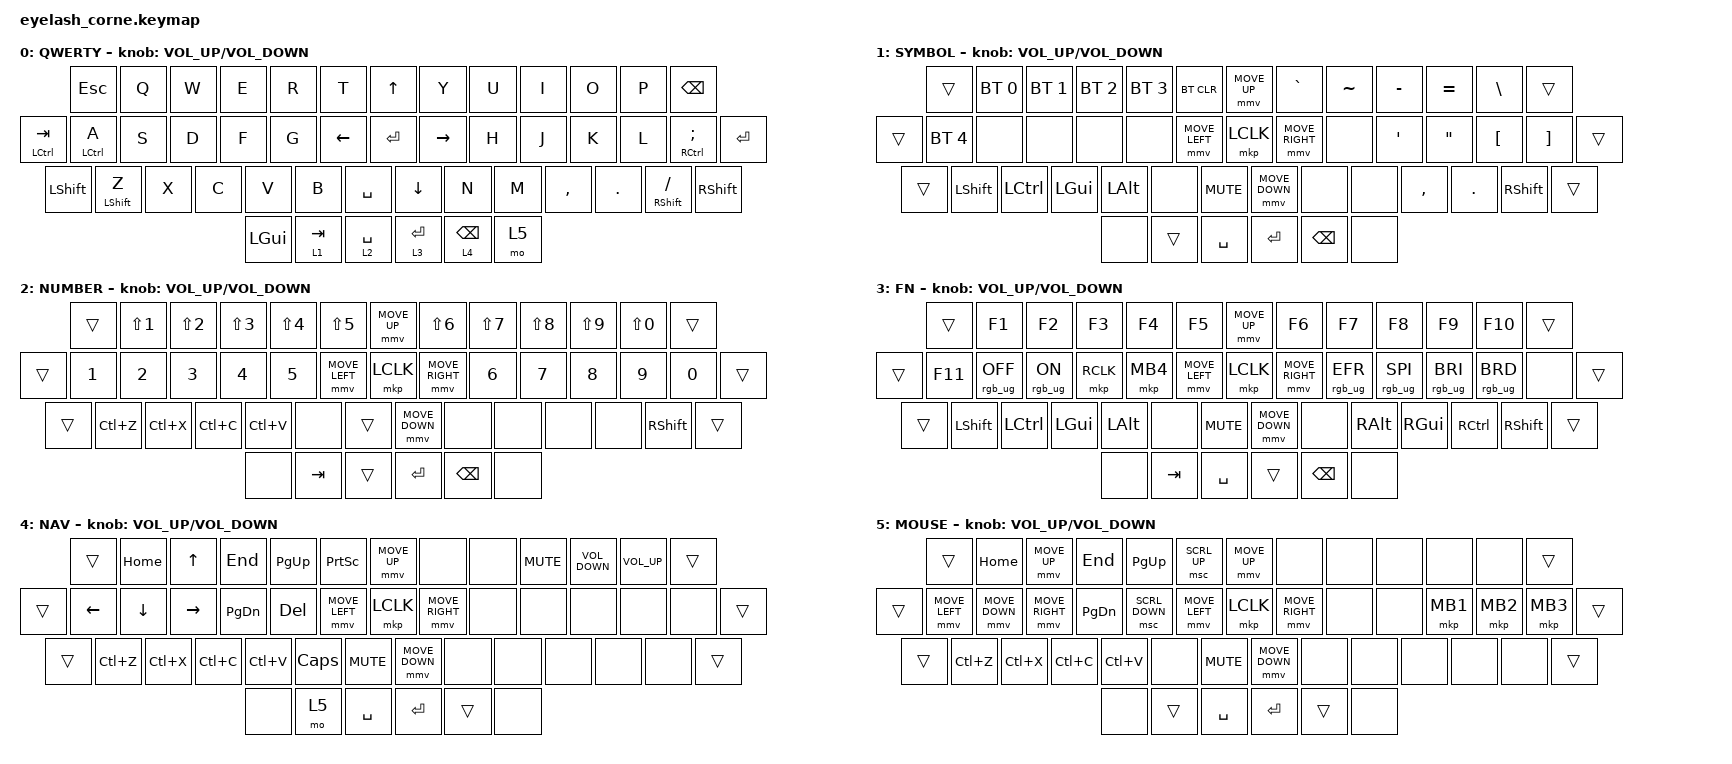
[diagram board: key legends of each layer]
#define ZMK_POINTING_DEFAULT_MOVE_VAL 2500  // 600
#define ZMK_POINTING_DEFAULT_SCRL_VAL 25   // 10

#include <input/processors.dtsi>
#include <zephyr/dt-bindings/input/input-event-codes.h>
#include <behaviors.dtsi>
#include <dt-bindings/zmk/bt.h>
#include <dt-bindings/zmk/ext_power.h>
#include <dt-bindings/zmk/keys.h>
#include <dt-bindings/zmk/outputs.h>
#include <dt-bindings/zmk/pointing.h>
#include <dt-bindings/zmk/rgb.h>

&mmv_input_listener { input-processors = <&zip_xy_scaler 2 1>; };

&msc_input_listener { input-processors = <&zip_scroll_scaler 2 1>; };

&msc {
    acceleration-exponent = <1>;      // 0
    time-to-max-speed-ms = <100>;       // 300
    delay-ms = <0>;                   // 0
};

&mmv {
    time-to-max-speed-ms = <1500>;
    acceleration-exponent = <1>;
    trigger-period-ms = <16>;
};


/ {
    behaviors {
        td0: td0 {
            compatible = "zmk,behavior-tap-dance";
            display-name = "Shift/Caps Lock Tap Dance";
            #binding-cells = <0>;
            bindings = <&kp LEFT_SHIFT>, <&kp CAPS>;
        };

        hml: home_row_mod_left {
            compatible = "zmk,behavior-hold-tap";
            flavor = "balanced";
            require-prior-idle-ms = <150>;
            tapping-term-ms = <280>;
            quick-tap-ms = <175>;
            #binding-cells = <2>;
            bindings = <&kp>, <&kp>;
        };

        hmr: home_row_mod_right {
            compatible = "zmk,behavior-hold-tap";
            flavor = "balanced";
            require-prior-idle-ms = <150>;
            tapping-term-ms = <280>;
            quick-tap-ms = <175>;
            #binding-cells = <2>;
            bindings = <&kp>, <&kp>;
        };

        ht: hold_tap {
            label = "hold_tap";
            compatible = "zmk,behavior-hold-tap";
            flavor = "balanced";
            tapping-term-ms = <180>;
            quick-tap-ms = <150>;
            global-quick-tap;
            #binding-cells = <2>;
            bindings = <&kp>, <&kp>;
        };

    };


    combos {
        compatible = "zmk,combos";

        esc1 {
            bindings = <&kp ESCAPE>;
            key-positions = <2 3>;
        };

        bkk {
            bindings = <&kp BACKSPACE>;
            key-positions = <23 24>;
        };

        altl {
            bindings = <&kp LEFT_ALT>;
            key-positions = <30 31>;
        };

        altr {
            bindings = <&kp RIGHT_ALT>;
            key-positions = <38 39>; 
        };

        guil {
            bindings = <&kp LEFT_GUI>;
            key-positions = <15 16>;
        };

        guir {
            bindings = <&kp RIGHT_GUI>;
            key-positions = <24 25>;
        };

        delc {
            bindings = <&kp DELETE>;
            key-positions = <9 10>;
        };
    };


    rgb_encoder: rgb_encoder {
        compatible = "zmk,behavior-sensor-rotate";
        #sensor-binding-cells = <0>;
        bindings = <&rgb_ug RGB_BRI>, <&rgb_ug RGB_BRD>;
    };

    scroll_encoder: scroll_encoder {
        compatible = "zmk,behavior-sensor-rotate";
        #sensor-binding-cells = <0>;
        bindings = <&msc SCRL_DOWN>, <&msc SCRL_UP>;
        tap-ms = <100>;
    };

    keymap {
        compatible = "zmk,keymap";

        default_layer {
            display-name = "QWERTY";
            bindings = <
&kp ESC    &kp Q  &kp W      &kp E     &kp R  &kp T                              &kp UP                &kp Y        &kp U  &kp I      &kp O    &kp P     &kp BSPC
&ht LCTRL TAB       &hml LCTRL A  &kp S      &kp D     &kp F  &kp G                    &kp LEFT  &kp ENTER  &kp RIGHT  &kp H        &kp J  &kp K      &kp L   &hmr RCTRL SEMICOLON &kp ENTER
&kp LSHFT  &hml LEFT_SHIFT Z &kp X      &kp C     &kp V  &kp B       &kp SPACE              &kp DOWN              &kp N        &kp M  &kp COMMA  &kp DOT  &hmr RIGHT_SHIFT SLASH  &kp RSHFT
                             &kp LGUI  &lt 1 TAB  &lt 2 SPACE                                              &lt 3 ENTER  &lt 4 BACKSPACE  &mo 5
            >;
            sensor-bindings = <&inc_dec_kp C_VOLUME_UP C_VOLUME_DOWN>;
        };

        layer_1 {
            display-name = "SYMBOL";
            bindings = <
&trans  &bt BT_SEL 0  &bt BT_SEL 1     &bt BT_SEL 2  &bt BT_SEL 3  &bt BT_CLR                                        &mmv MOVE_UP                     &kp GRAVE  &kp TILDE         &kp MINUS          &kp EQUAL  &kp BSLH    &trans
&trans  &bt BT_SEL 4  &none  &none         &none         &none                            &mmv MOVE_LEFT  &mkp LCLK       &mmv MOVE_RIGHT  &none      &kp SINGLE_QUOTE  &kp DOUBLE_QUOTES  &kp LBKT   &kp RBKT  &trans
&trans  &kp LSHFT     &kp LCTRL        &kp LEFT_GUI  &kp LEFT_ALT  &none &kp C_MUTE                    &mmv MOVE_DOWN                   &none      &none             &kp COMMA          &kp DOT    &kp RSHFT   &trans
                                         &none        &trans        &kp SPACE                                                                         &kp ENTER  &kp BSPC          &none
            >;
            sensor-bindings = <&inc_dec_kp C_VOLUME_UP C_VOLUME_DOWN>;
        };

        layer_2 {
            display-name = "NUMBER";
            bindings = <
&trans  &kp LS(N1)  &kp LS(N2)  &kp LS(N3)  &kp LS(N4)  &kp LS(N5)                           &mmv MOVE_UP                     &kp LS(N6)  &kp LS(N7)  &kp LS(N8)  &kp LS(N9)  &kp LS(N0)  &trans
&trans  &kp N1      &kp N2      &kp N3      &kp N4      &kp N5             &mmv MOVE_LEFT  &mkp LCLK       &mmv MOVE_RIGHT  &kp N6      &kp N7      &kp N8      &kp N9      &kp N0  &trans
&trans  &kp LC(Z)   &kp LC(X)   &kp LC(C)   &kp LC(V)   &none  &trans                    &mmv MOVE_DOWN                   &none       &none       &none       &none       &kp RSHFT  &trans
                                    &none     &kp TAB     &trans                                                             &kp ENTER   &kp BSPC     &none
            >;
            sensor-bindings = <&inc_dec_kp C_VOLUME_UP C_VOLUME_DOWN>;
        };

        layer_3 {
            display-name = "FN";
            bindings = <
&trans   &kp F1      &kp F2      &kp F3       &kp F4     &kp F5                                  &mmv MOVE_UP                     &kp F6       &kp F7     &kp F8       &kp F9      &kp F10          &trans
&trans  &kp F11      &rgb_ug RGB_OFF  &rgb_ug RGB_ON    &mkp RCLK  &mkp MB4                &mmv MOVE_LEFT  &mkp LCLK       &mmv MOVE_RIGHT  &rgb_ug RGB_EFR  &rgb_ug RGB_SPI  &rgb_ug RGB_BRI  &rgb_ug RGB_BRD   &none  &trans
&trans  &kp LSHFT  &kp LCTRL  &kp LGUI  &kp LALT  &none   &kp C_MUTE                    &mmv MOVE_DOWN                   &none       &kp RALT  &kp RGUI  &kp RCTRL  &kp RSHFT   &trans
                                &none      &kp TAB   &kp SPACE                                                                   &trans  &kp BSPC     &none
            >;
            sensor-bindings = <&inc_dec_kp C_VOLUME_UP C_VOLUME_DOWN>;
        };
        layer_4 {
            display-name = "NAV";
            bindings = <
&trans   &kp HOME   &kp UP     &kp END    &kp PG_UP  &kp PRINTSCREEN                                  &mmv MOVE_UP                     &none      &none   &kp K_MUTE  &kp C_VOLUME_DOWN  &kp C_VOLUME_UP         &trans
&trans  &kp LEFT   &kp DOWN   &kp RIGHT  &kp PG_DN  &kp DELETE                &mmv MOVE_LEFT  &mkp LCLK       &mmv MOVE_RIGHT  &none      &none   &none       &none              &none  &trans
&trans  &kp LC(Z)  &kp LC(X)  &kp LC(C)  &kp LC(V)  &kp CAPS   &kp C_MUTE                    &mmv MOVE_DOWN                   &none      &none   &none       &none              &none   &trans
                                &none      &mo 5      &kp SPACE                                                                   &kp ENTER  &trans     &none
            >;
            sensor-bindings = <&inc_dec_kp C_VOLUME_UP C_VOLUME_DOWN>;
        };
        layer_5 {
            display-name = "MOUSE";
            bindings = <
&trans   &kp HOME        &mmv MOVE_UP    &kp END          &kp PG_UP  &msc SCRL_UP                                 &mmv MOVE_UP                     &none       &none   &none     &none     &none          &trans
&trans  &mmv MOVE_LEFT  &mmv MOVE_DOWN  &mmv MOVE_RIGHT  &kp PG_DN  &msc SCRL_DOWN                &mmv MOVE_LEFT  &mkp LCLK       &mmv MOVE_RIGHT  &none      &none   &mkp MB1  &mkp MB2  &mkp MB3  &trans
&trans  &kp LC(Z)       &kp LC(X)       &kp LC(C)        &kp LC(V)  &none   &kp C_MUTE                    &mmv MOVE_DOWN                   &none      &none   &none     &none     &none  &trans
                                &none      &trans      &kp SPACE                                                                  &kp ENTER  &trans     &none
            >;
            sensor-bindings = <&inc_dec_kp C_VOLUME_UP C_VOLUME_DOWN>;
        };
    };
};
